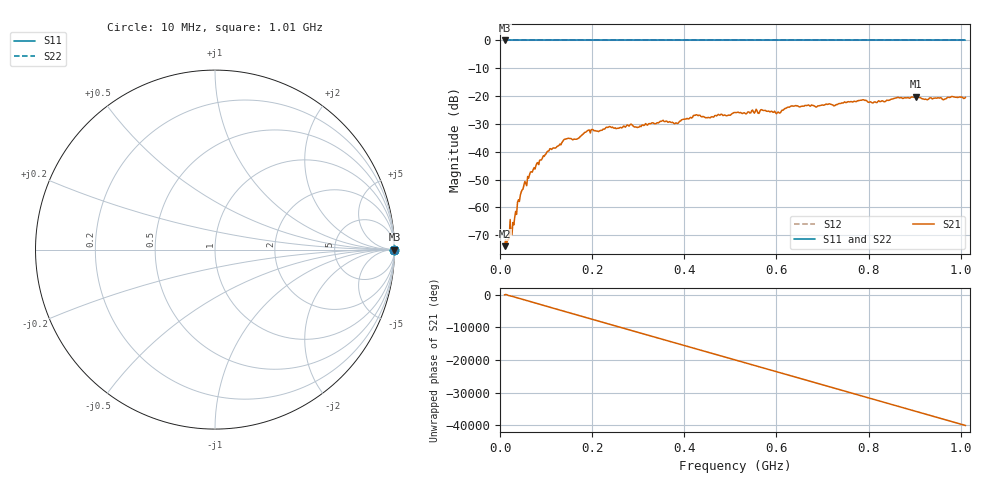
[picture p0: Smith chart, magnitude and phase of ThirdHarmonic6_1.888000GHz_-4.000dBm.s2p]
! 8/16/2025 10:47:56 PM
! C:\ANRITSUVNA\TEMP\TEMP.S2P
! CHANNEL.1
! TR.MEASUREMENT
! RAW.DATA
! RF.CORRECTION.OFF
! AVERAGING.OFF
! IF.BANDWIDTH: 5KHZ
! SWEEPTYPE:  FREQ.SWEEP(Linear)
! Reference Plane Port Info
! PORT:  PORT1  PORT2
! DISTANCE:  0  m  0  m
! TIME:  0  s  0  s
! PHASE.OFFSET:  0  deg.  0  deg.
! LOSS:  0  dB  0  dB
! REF.LOSS:  0  dB  0  dB
! REF.FREQ:  0  Hz  0  Hz
! Power Info
! POWER:  -20  dBm  -20  dBm
! EFF.POWER:  -20  dBm  -20  dBm
! SOURCE.ATTEN:  0  dB  0  dB
! TEST.ATTEN:  0  dB  0  dB
# GHZ S RI R 50.0
! FREQ.GHZ  S11RE  S11IM  S21RE  S21IM  S12RE  S12IM  S22RE  S22IM
!; PortSelection: Port_12
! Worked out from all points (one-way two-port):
!   501 points, 10 MHz to 1.01 GHz, reference 50 ohm
!   highest |S21| = -20.15 dB at 902 MHz (marker M1); lowest = -73.9 dB at 10 MHz (marker M2)
!   lowest |S11| = 0.0 dB at 10 MHz (marker M3)
!   |S11| at or under -10 dB: nowhere
!   |S22| runs from 0.0 to 0.0 dB; largest |S21 - S12| = 1.1
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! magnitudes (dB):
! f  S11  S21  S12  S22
! 10 MHz  0.0  -73.9  0.0  0.0
! 28 MHz  0.0  -65.4  0.0  0.0
! 42 MHz  0.0  -57.9  0.0  0.0
! 50 MHz  0.0  -53.4  0.0  0.0
! 70 MHz  0.0  -47.3  0.0  0.0
! 106 MHz  0.0  -39.7  0.0  0.0
! 142 MHz  0.0  -35.4  0.0  0.0
! 178 MHz  0.0  -33.9  0.0  0.0
! 234 MHz  0.0  -31.2  0.0  0.0
! 298 MHz  0.0  -31.3  0.0  0.0
! 344 MHz  0.0  -29.6  0.0  0.0
! 382 MHz  0.0  -29.6  0.0  0.0
! 424 MHz  0.0  -26.9  0.0  0.0
! 452 MHz  0.0  -27.6  0.0  0.0
! 510 MHz  0.0  -25.9  0.0  0.0
! 570 MHz  0.0  -25.1  0.0  0.0
! 604 MHz  0.0  -25.7  0.0  0.0
! 634 MHz  0.0  -23.5  0.0  0.0
! 678 MHz  0.0  -23.3  0.0  0.0
! 844 MHz  0.0  -21.5  0.0  0.0
! 902 MHz  0.0  -20.2  0.0  0.0
! 1.01 GHz  0.0  -20.5  0.0  0.0
